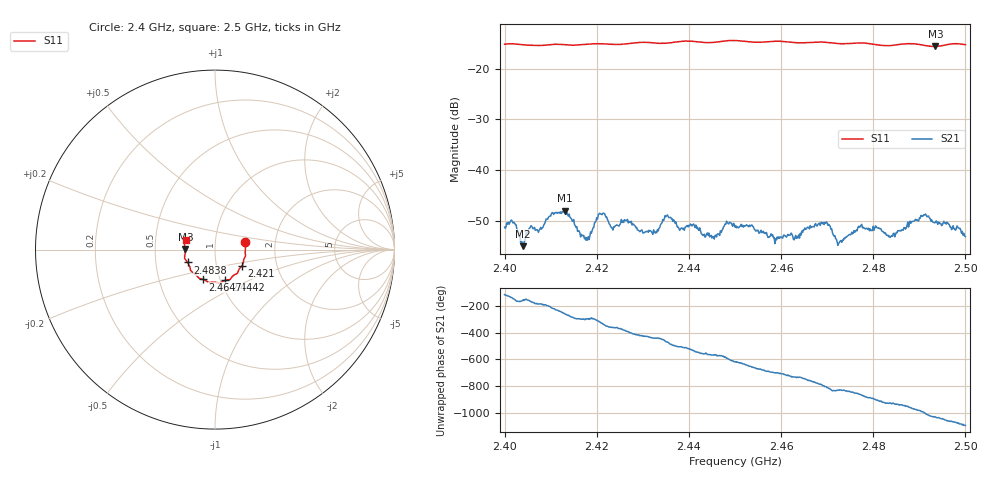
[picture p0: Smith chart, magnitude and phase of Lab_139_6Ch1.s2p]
# Hz S RI R 50
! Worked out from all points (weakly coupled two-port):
!   601 points, 2.4 GHz to 2.5 GHz, reference 50 ohm
!   highest |S21| = -47.99 dB at 2.4132 GHz (marker M1); lowest = -55.0 dB at 2.404 GHz (marker M2)
!   lowest |S11| = -15.6 dB at 2.4935 GHz (marker M3), VSWR 1.40, Z = 35.8 + j0.195 ohm
!   |S11| at or under -10 dB: start of sweep to end of sweep
!   S12 and S22 are empty: the file has one direction only
!   S11 on the Smith chart (normalised r, x): 2.4 GHz: 1.40, +0.12; 2.421 GHz: 1.33, -0.24; 2.4442 GHz: 1.05, -0.37; 2.4647 GHz: 0.83, -0.28; 2.4838 GHz: 0.73, -0.11; 2.5 GHz: 0.72, +0.08
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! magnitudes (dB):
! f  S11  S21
! 2.4 GHz  -15.2  -51.3
! 2.402 GHz  -15.1  -50.3
! 2.404 GHz  -15.3  -55.0
! 2.4132 GHz  -15.3  -48.0
! 2.4167 GHz  -15.3  -52.7
! 2.4182 GHz  -15.2  -53.1
! 2.421 GHz  -15.1  -48.7
! 2.4235 GHz  -15.2  -51.8
! 2.4333 GHz  -15.0  -52.0
! 2.4353 GHz  -15.0  -48.9
! 2.4442 GHz  -14.9  -52.9
! 2.45 GHz  -14.5  -51.3
! 2.4647 GHz  -14.9  -52.3
! 2.4667 GHz  -14.8  -51.2
! 2.47 GHz  -14.9  -50.4
! 2.4727 GHz  -15.1  -54.2
! 2.4772 GHz  -14.9  -51.2
! 2.4833 GHz  -15.5  -53.2
! 2.4838 GHz  -15.5  -53.1
! 2.4908 GHz  -15.4  -49.0
! 2.4935 GHz  -15.6  -50.3
! 2.5 GHz  -15.3  -53.1
